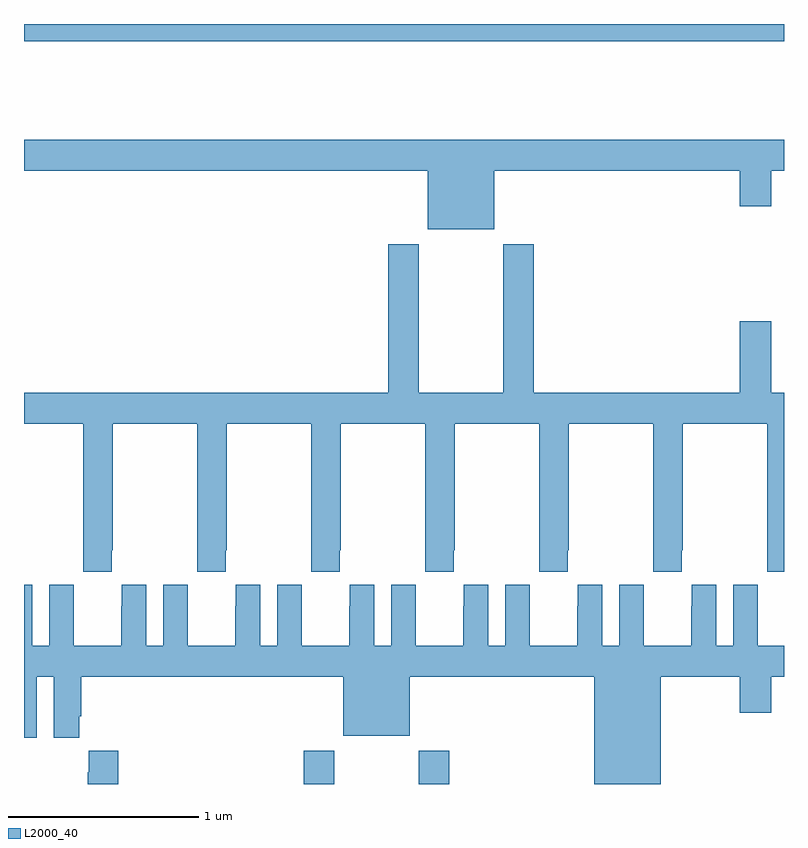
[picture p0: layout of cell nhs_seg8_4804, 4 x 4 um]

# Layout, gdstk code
import gdstk
lib = gdstk.Library(unit=1e-6, precision=1e-09)
def R(c, l, rs):  # rectangles x0, y0, x1, y1
    for r in rs: c.add(gdstk.rectangle(r[:2], r[2:], *l))
def P(c, l, *ps):  # polygons
    for p in ps: c.add(gdstk.Polygon(p, *l))
L2000_40 = (2000, 40)

nhs_seg8_4804 = lib.new_cell('nhs_seg8_4804')
R(nhs_seg8_4804, L2000_40, [(402.473,1151.9,402.633,1152.076), (403.078,1151.9,403.238,1152.076), (401,1155.808,405,1155.9)])
P(nhs_seg8_4804, L2000_40, [(403.474,1155.128),(404.768,1155.128),(404.768,1154.94),(404.932,1154.94),(404.932,1155.128),(405,1155.128),(405,1155.292),(401,1155.292),(401,1155.128),(403.124,1155.128),(403.124,1154.819),(403.474,1154.819)],
  [(403.682,1154.74),(403.522,1154.74),(403.522,1153.96),(403.077,1153.96),(403.077,1154.74),(402.917,1154.74),(402.917,1153.96),(401,1153.96),(401,1153.796),(401.311,1153.796),(401.311,1153.129),(401.313,1153.129),(401.313,1153.017),(401.463,1153.017),(401.463,1153.129),(401.466,1153.129),(401.466,1153.796),(401.911,1153.796),(401.911,1153.129),(401.913,1153.129),(401.913,1153.017),(402.063,1153.017),(402.063,1153.129),(402.066,1153.129),(402.066,1153.796),(402.511,1153.796),(402.511,1153.129),(402.513,1153.129),(402.513,1153.017),(402.663,1153.017),(402.663,1153.129),(402.666,1153.129),(402.666,1153.796),(403.111,1153.796),(403.111,1153.129),(403.113,1153.129),(403.113,1153.017),(403.263,1153.017),(403.263,1153.129),(403.266,1153.129),(403.266,1153.796),(403.711,1153.796),(403.711,1153.129),(403.713,1153.129),(403.713,1153.017),(403.863,1153.017),(403.863,1153.129),(403.866,1153.129),(403.866,1153.796),(404.311,1153.796),(404.311,1153.129),(404.313,1153.129),(404.313,1153.017),(404.463,1153.017),(404.463,1153.129),(404.466,1153.129),(404.466,1153.796),(404.911,1153.796),(404.911,1153.129),(404.913,1153.129),(404.913,1153.017),(405,1153.017),(405,1153.96),(404.932,1153.96),(404.932,1154.335),(404.768,1154.335),(404.768,1153.96),(403.682,1153.96)],
  [(403.914,1152.949),(403.914,1152.836),(403.913,1152.836),(403.913,1152.628),(403.663,1152.628),(403.663,1152.836),(403.662,1152.836),(403.662,1152.949),(403.532,1152.949),(403.532,1152.628),(403.444,1152.628),(403.444,1152.949),(403.314,1152.949),(403.314,1152.836),(403.313,1152.836),(403.313,1152.628),(403.063,1152.628),(403.063,1152.836),(403.062,1152.836),(403.062,1152.949),(402.932,1152.949),(402.932,1152.628),(402.844,1152.628),(402.844,1152.949),(402.714,1152.949),(402.714,1152.836),(402.713,1152.836),(402.713,1152.628),(402.463,1152.628),(402.463,1152.836),(402.462,1152.836),(402.462,1152.949),(402.332,1152.949),(402.332,1152.628),(402.244,1152.628),(402.244,1152.949),(402.114,1152.949),(402.114,1152.836),(402.113,1152.836),(402.113,1152.628),(401.863,1152.628),(401.863,1152.836),(401.862,1152.836),(401.862,1152.949),(401.732,1152.949),(401.732,1152.628),(401.644,1152.628),(401.644,1152.949),(401.514,1152.949),(401.514,1152.836),(401.513,1152.836),(401.513,1152.628),(401.263,1152.628),(401.263,1152.836),(401.262,1152.836),(401.262,1152.949),(401.132,1152.949),(401.132,1152.628),(401.044,1152.628),(401.044,1152.949),(401,1152.949),(401,1152.144),(401.068,1152.144),(401.068,1152.464),(401.156,1152.464),(401.156,1152.144),(401.29,1152.144),(401.29,1152.256),(401.3,1152.256),(401.3,1152.464),(402.68,1152.464),(402.68,1152.155),(403.03,1152.155),(403.03,1152.464),(404,1152.464),(404,1151.9),(404.35,1151.9),(404.35,1152.464),(404.768,1152.464),(404.768,1152.276),(404.932,1152.276),(404.932,1152.464),(405,1152.464),(405,1152.628),(404.863,1152.628),(404.863,1152.836),(404.862,1152.836),(404.862,1152.949),(404.732,1152.949),(404.732,1152.628),(404.644,1152.628),(404.644,1152.949),(404.514,1152.949),(404.514,1152.836),(404.513,1152.836),(404.513,1152.628),(404.263,1152.628),(404.263,1152.836),(404.262,1152.836),(404.262,1152.949),(404.132,1152.949),(404.132,1152.628),(404.044,1152.628),(404.044,1152.949)],
  [(401.495,1152.076),(401.341,1152.076),(401.341,1151.963),(401.335,1151.963),(401.335,1151.9),(401.495,1151.9)])

lib.write_gds('nhs_seg8_4804.gds')
